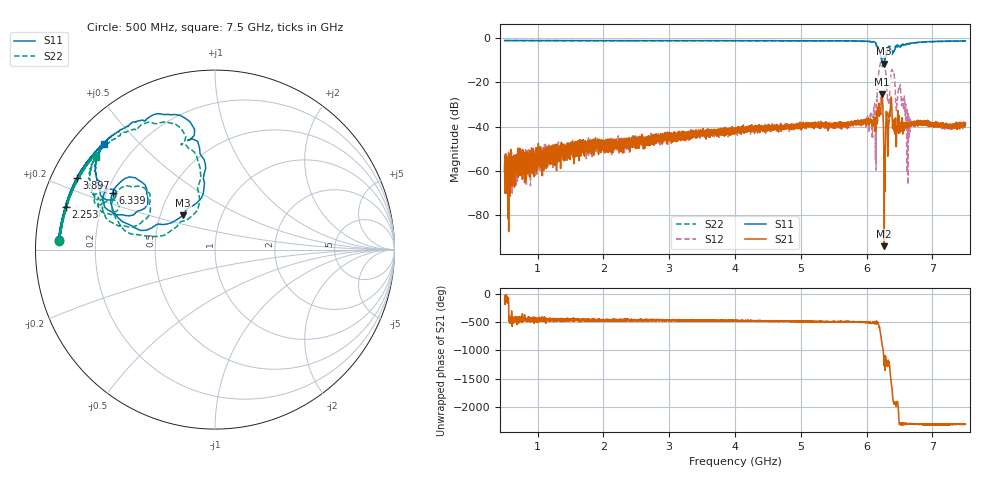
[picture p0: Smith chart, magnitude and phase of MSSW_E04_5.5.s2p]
!Keysight Technologies,M9374A,MY55442783,A.12.55.05
!Date: Wednesday, May 19, 2021 18:41:43
!Correction: S11(Full 2 Port(1,2))
!S21(Full 2 Port(1,2))
!S12(Full 2 Port(1,2))
!S22(Full 2 Port(1,2))
!S2P File: Measurements: S11, S21, S12, S22:
# Hz S  RI  R 50
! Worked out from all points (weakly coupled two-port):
!   7001 points, 500 MHz to 7.5 GHz, reference 50 ohm
!   highest |S21| = -25.44 dB at 6.236 GHz (marker M1); lowest = -94.0 dB at 6.268 GHz (marker M2)
!   lowest |S11| = -11.6 dB at 6.256 GHz (marker M3), VSWR 1.71, Z = 32.7 + j13.5 ohm
!   |S11| at or under -10 dB: 6.229 GHz to 6.274 GHz (45.73 MHz wide, 0.731 % of centre)
!   |S22| runs from -13.0 to -1.2 dB; largest |S21 - S12| = 0.34
!   S11 on the Smith chart (normalised r, x): 500 MHz: 0.07, +0.03; 2.253 GHz: 0.07, +0.14; 3.897 GHz: 0.08, +0.24; 6.339 GHz: 0.22, +0.25; 7.5 GHz: 0.09, +0.40
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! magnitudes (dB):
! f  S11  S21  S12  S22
! 500 MHz  -1.2  -56.7  -64.0  -1.2
! 733 MHz  -1.2  -62.2  -56.0  -1.2
! 1.667 GHz  -1.2  -49.7  -48.0  -1.3
! 2.253 GHz  -1.2  -49.2  -48.5  -1.3
! 2.834 GHz  -1.2  -45.4  -46.1  -1.3
! 3.897 GHz  -1.2  -43.6  -42.3  -1.3
! 4 GHz  -1.3  -42.3  -42.8  -1.3
! 5.167 GHz  -1.3  -40.4  -39.0  -1.3
! 6.111 GHz  -1.7  -36.3  -31.2  -1.9
! 6.209 GHz  -7.3  -34.4  -11.3  -7.8
! 6.236 GHz  -11.1  -25.4  -8.7  -12.4
! 6.256 GHz  -11.6  -40.6  -9.6  -12.1
! 6.268 GHz  -10.9  -94.0  -11.5  -10.6
! 6.295 GHz  -8.2  -35.4  -17.0  -6.6
! 6.334 GHz  -3.8  -39.5  -29.1  -3.9
! 6.339 GHz  -3.7  -37.8  -29.4  -4.0
! 6.397 GHz  -6.9  -38.4  -15.2  -6.7
! 6.426 GHz  -5.3  -42.6  -19.4  -4.4
! 6.464 GHz  -3.2  -40.8  -29.1  -3.9
! 6.516 GHz  -4.0  -40.3  -22.9  -3.5
! 6.642 GHz  -2.5  -39.6  -43.0  -2.8
! 7.5 GHz  -1.4  -38.2  -38.2  -1.5
